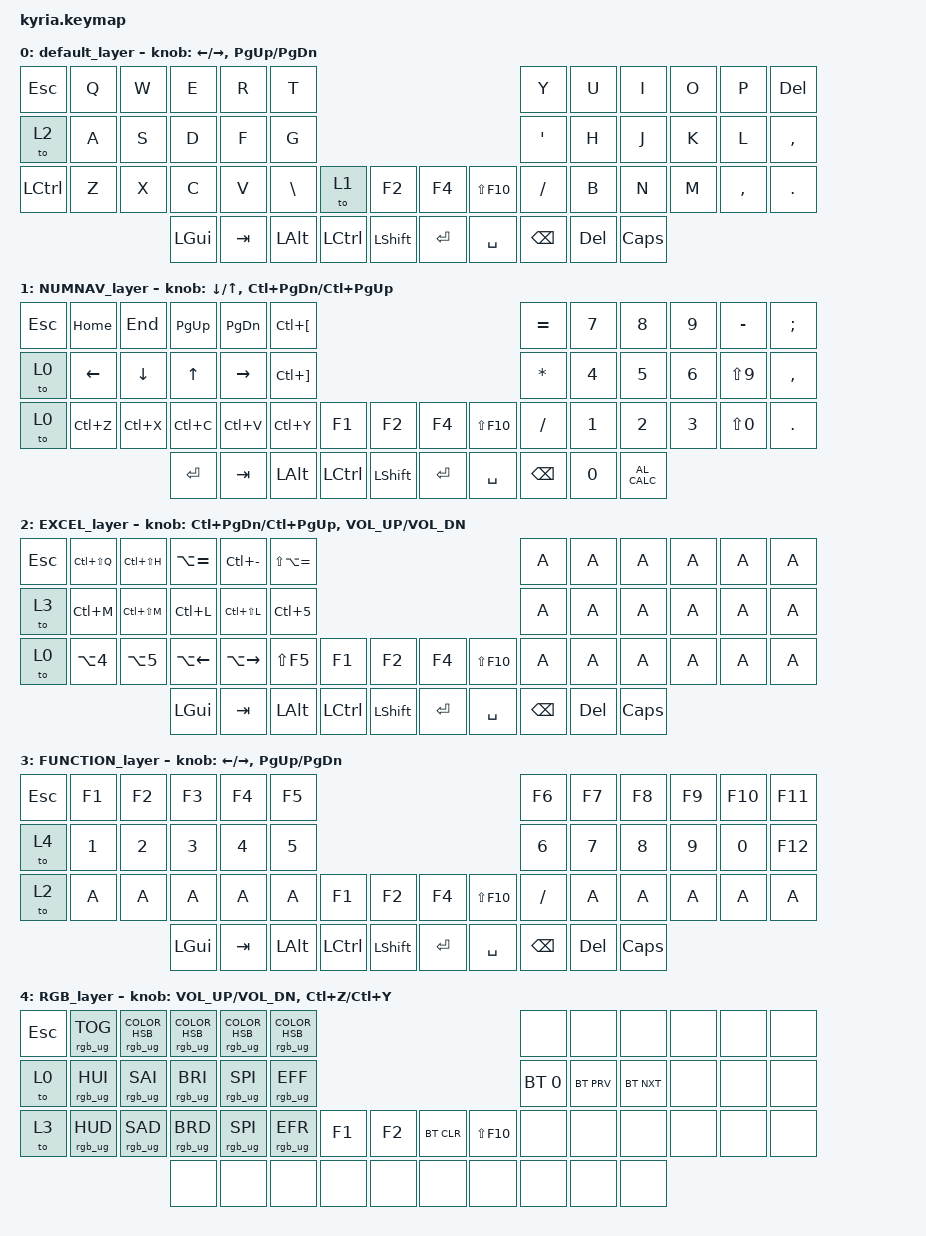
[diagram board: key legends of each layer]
/*
 * Copyright (c) 2020 The ZMK Contributors
 *
 * SPDX-License-Identifier: MIT
 */

#include <behaviors.dtsi>
#include <dt-bindings/zmk/keys.h>
#include <dt-bindings/zmk/bt.h>
#include <dt-bindings/zmk/rgb.h>


#define DEFAULT 0
#define NUMNAV 1 
#define EXCEL 2
#define function 3 
#define RGB 4

&left_encoder { resolution = <3>;};
&right_encoder { resolution = <3>;};

/ {
	keymap {
		compatible = "zmk,keymap";

		default_layer {

bindings = <
	&kp ESC   &kp Q &kp W &kp E     &kp R    &kp T                                                    &kp Y     &kp U    &kp I     &kp O   &kp P     &kp DEL
	&to 2     &kp A &kp S &kp D     &kp F    &kp G                                                    &kp SQT   &kp H     &kp J    &kp K   &kp L     &kp COMMA 
	&kp LCTRL &kp Z &kp X &kp C     &kp V    &kp BSLH  &to 1     &kp F2         &kp F4   &kp LS(F10) &kp FSLH  &kp B    &kp N     &kp M   &kp COMMA     &kp DOT  
	                      &kp LGUI  &kp TAB  &kp LALT  &kp LCTRL  &kp LSHFT      &kp RET  &kp SPACE   &kp BSPC  &kp DEL  &kp CAPS
			>;

			sensor-bindings = <&inc_dec_kp LEFT RIGHT &inc_dec_kp PG_UP PG_DN>;
		};
		
		
		
		NUMNAV_layer {

bindings = <
	&kp ESC  &kp HOME  &kp END   &kp PG_UP &kp PG_DN &kp LC(LBKT)                                                &kp EQUAL &kp N7 &kp N8 &kp N9 &kp MINUS  &kp SEMI
	&to 0    &kp LEFT  &kp DOWN  &kp UP    &kp RIGHT &kp LC(RBKT)                                                &kp ASTRK &kp N4 &kp N5 &kp N6 &kp LS(N9) &kp COMMA
	&to 0    &kp LC(Z) &kp LC(X) &kp LC(C) &kp LC(V) &kp LC(Y)      &kp F1    &kp F2         &kp F4  &kp LS(F10) &kp FSLH  &kp N1 &kp N2 &kp N3 &kp LS(N0) &kp DOT   
	                             &kp RET   &kp TAB   &kp LALT       &kp LCTRL &kp LSHFT      &kp RET &kp SPACE   &kp BSPC  &kp N0 &kp C_AL_CALC
			>;

			sensor-bindings = <&inc_dec_kp DOWN UP &inc_dec_kp LC(PG_DN) LC(PG_UP) >;
		};
				
		EXCEL_layer {

bindings = <
	&kp ESC  &kp LC(LS(Q)) &kp LC(LS(H)) &kp LA(EQUAL) &kp LC(MINUS)  &kp LS(LA(EQUAL))                                                        &kp A     &kp A     &kp A     &kp A      &kp A &kp A
	&to 3    &kp LC(M)     &kp LC(LS(M)) &kp LC(L)     &kp LC(LS(L))  &kp LC(N5)                                                               &kp A     &kp A     &kp A     &kp A      &kp A &kp A 
	&to 0    &kp LA(N4)    &kp LA(N5)    &kp LA(LEFT)  &kp LA(RIGHT)  &kp LS(F5)     &kp F1      &kp F2                &kp F4      &kp LS(F10) &kp A     &kp A     &kp A     &kp A      &kp A &kp A 
	                                     &kp LGUI      &kp TAB        &kp LALT       &kp LCTRL   &kp LSHFT             &kp RET     &kp SPACE   &kp BSPC  &kp DEL   &kp CAPS
			>;  
			
			sensor-bindings = <&inc_dec_kp LC(PG_DN) LC(PG_UP) &inc_dec_kp C_VOL_UP C_VOL_DN >;
		};
								
		FUNCTION_layer {

bindings = <
	&kp ESC  &kp F1 &kp F2 &kp F3   &kp F4   &kp F5                                                   &kp F6    &kp F7   &kp F8   &kp F9 &kp F10  &kp F11
	&to 4    &kp N1 &kp N2 &kp N3   &kp N4   &kp N5                                                   &kp N6    &kp N7   &kp N8   &kp N9 &kp N0   &kp F12 
	&to 2    &kp A  &kp A  &kp A    &kp A    &kp A     &kp F1     &kp F2         &kp F4   &kp LS(F10) &kp FSLH  &kp A    &kp A    &kp A  &kp A    &kp A  
	                      &kp LGUI  &kp TAB  &kp LALT  &kp LCTRL  &kp LSHFT      &kp RET  &kp SPACE   &kp BSPC  &kp DEL  &kp CAPS
			>;

			sensor-bindings = <&inc_dec_kp LEFT RIGHT &inc_dec_kp PG_UP PG_DN>;
		};
						
		RGB_layer {

bindings = <
	&kp ESC    &rgb_ug RGB_TOG  &rgb_ug RGB_COLOR_HSB(280,75,80) &rgb_ug RGB_COLOR_HSB(60,100,100) &rgb_ug RGB_COLOR_HSB(150,100,100) &rgb_ug RGB_COLOR_HSB(180,100,100)                                              &none         &none       &none        &none     &none    &none  
	&to 0      &rgb_ug RGB_HUI  &rgb_ug RGB_SAI                  &rgb_ug RGB_BRI                   &rgb_ug RGB_SPI                    &rgb_ug RGB_EFF                                                                 &bt BT_SEL 0  &bt BT_PRV  &bt BT_NXT   &none     &none    &none  
	&to 3      &rgb_ug RGB_HUD  &rgb_ug RGB_SAD                  &rgb_ug RGB_BRD                   &rgb_ug RGB_SPI                    &rgb_ug RGB_EFR                    &kp F1 &kp F2         &bt BT_CLR &kp LS(F10) &none         &none       &none        &none     &none    &none  
	                                                            &none                             &none                              &none                              &none  &none          &none      &none       &none         &none       &none 
			>;

			sensor-bindings = <&inc_dec_kp C_VOL_UP C_VOL_DN &inc_dec_kp LC(Z) LC(Y) >;
		};
						
		
				
		
	};
};
